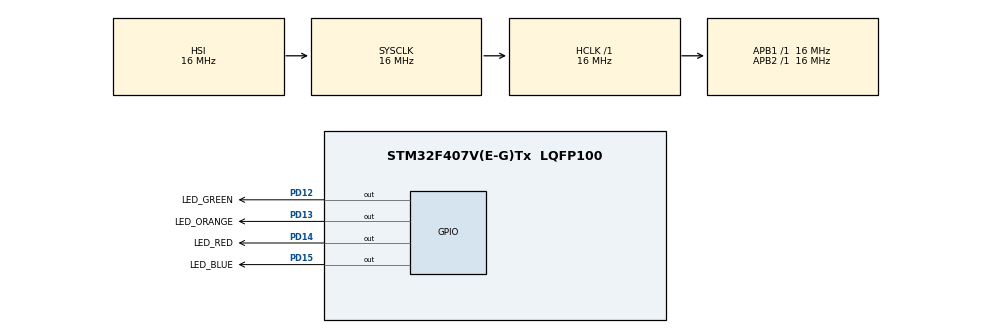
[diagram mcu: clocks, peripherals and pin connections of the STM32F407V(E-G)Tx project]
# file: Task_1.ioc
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Mcu.Family=STM32F4
Mcu.Name=STM32F407V(E-G)Tx
Mcu.Package=LQFP100
NVIC.PriorityGroup=NVIC_PRIORITYGROUP_4
PD12.GPIO_Label=LED_GREEN
PD12.Signal=GPIO_Output
PD13.GPIO_Label=LED_ORANGE
PD13.Signal=GPIO_Output
PD14.GPIO_Label=LED_RED
PD14.Signal=GPIO_Output
PD15.GPIO_Label=LED_BLUE
PD15.Signal=GPIO_Output
ProjectManager.HeapSize=0x200
ProjectManager.StackSize=0x400
ProjectManager.TargetToolchain=STM32CubeIDE
RCC.AHBFreq_Value=16000000
RCC.APB1Freq_Value=16000000
RCC.APB2Freq_Value=16000000
RCC.CortexFreq_Value=16000000
RCC.HSE_VALUE=25000000
RCC.HSI_VALUE=16000000
RCC.LSE_VALUE=32768
RCC.SYSCLKFreq_VALUE=16000000
RCC.VCOOutputFreq_Value=192000000
board=custom

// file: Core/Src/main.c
/* USER CODE BEGIN Header */
/**
  ******************************************************************************
  * @file           : main.c
  * @brief          : Main program body
  ******************************************************************************
  * @attention
  *
  * <h2><center>&copy; Copyright (c) 2021 STMicroelectronics.
  * All rights reserved.</center></h2>
  *
  * This software component is licensed by ST under BSD 3-Clause license,
  * the "License"; You may not use this file except in compliance with the
  * License. You may obtain a copy of the License at:
  *                        opensource.org/licenses/BSD-3-Clause
  *
  ******************************************************************************
  */
/* USER CODE END Header */
#include "main.h"

void SystemClock_Config(void);
static void MX_GPIO_Init(void);

int main(void)
{

  /* MCU Configuration--------------------------------------------------------*/

  /* Reset of all peripherals, Initializes the Flash interface and the Systick. */
  HAL_Init();

  /* Configure the system clock */
  SystemClock_Config();

  /* Initialize all configured peripherals */
  MX_GPIO_Init();
  /* USER CODE BEGIN 2 */

  uint32_t led_Pin[4] = {LED_GREEN_Pin, LED_ORANGE_Pin, LED_RED_Pin, LED_BLUE_Pin};

  HAL_Delay(4000);
  HAL_GPIO_WritePin(GPIOD, LED_GREEN_Pin|LED_RED_Pin, GPIO_PIN_SET);
  HAL_Delay(500);
  HAL_GPIO_WritePin(GPIOD, LED_GREEN_Pin|LED_RED_Pin, GPIO_PIN_RESET);
  HAL_Delay(500);
  HAL_GPIO_WritePin(GPIOD, LED_ORANGE_Pin|LED_BLUE_Pin, GPIO_PIN_SET);
  HAL_Delay(500);
  HAL_GPIO_WritePin(GPIOD, LED_ORANGE_Pin|LED_BLUE_Pin, GPIO_PIN_RESET);
  HAL_Delay(500);
  HAL_GPIO_WritePin(GPIOD, LED_GREEN_Pin|LED_ORANGE_Pin|LED_RED_Pin|LED_BLUE_Pin, GPIO_PIN_SET);
  HAL_Delay(500);
  HAL_GPIO_WritePin(GPIOD, LED_GREEN_Pin|LED_ORANGE_Pin|LED_RED_Pin|LED_BLUE_Pin, GPIO_PIN_RESET);
  HAL_Delay(500);

  /* USER CODE END 2 */

  /* Infinite loop */
  /* USER CODE BEGIN WHILE */
  while (1)
  {
	      // progressive led blinking
	  	  for( uint32_t j = 250; j > 0; j -= 25)
	  	  {
	  		  for( uint32_t k = 0; k < 4; k++){
	  	  HAL_GPIO_WritePin(GPIOD, led_Pin[k], GPIO_PIN_SET);
	  	  HAL_Delay(j);
	  	  HAL_GPIO_WritePin(GPIOD, led_Pin[k], GPIO_PIN_RESET);
	  	  HAL_Delay(j);
	  		  }
	  	  }

    /* USER CODE END WHILE */

  }
}

void SystemClock_Config(void)
{
  RCC_OscInitTypeDef RCC_OscInitStruct = {0};
  RCC_ClkInitTypeDef RCC_ClkInitStruct = {0};

  /** Configure the main internal regulator output voltage
  */
  __HAL_RCC_PWR_CLK_ENABLE();
  __HAL_PWR_VOLTAGESCALING_CONFIG(PWR_REGULATOR_VOLTAGE_SCALE1);
  /** Initializes the RCC Oscillators according to the specified parameters
  * in the RCC_OscInitTypeDef structure.
  */
  RCC_OscInitStruct.OscillatorType = RCC_OSCILLATORTYPE_HSI;
  RCC_OscInitStruct.HSIState = RCC_HSI_ON;
  RCC_OscInitStruct.HSICalibrationValue = RCC_HSICALIBRATION_DEFAULT;
  RCC_OscInitStruct.PLL.PLLState = RCC_PLL_NONE;
  if (HAL_RCC_OscConfig(&RCC_OscInitStruct) != HAL_OK)
  {
    Error_Handler();
  }
  /** Initializes the CPU, AHB and APB buses clocks
  */
  RCC_ClkInitStruct.ClockType = RCC_CLOCKTYPE_HCLK|RCC_CLOCKTYPE_SYSCLK
                              |RCC_CLOCKTYPE_PCLK1|RCC_CLOCKTYPE_PCLK2;
  RCC_ClkInitStruct.SYSCLKSource = RCC_SYSCLKSOURCE_HSI;
  RCC_ClkInitStruct.AHBCLKDivider = RCC_SYSCLK_DIV1;
  RCC_ClkInitStruct.APB1CLKDivider = RCC_HCLK_DIV1;
  RCC_ClkInitStruct.APB2CLKDivider = RCC_HCLK_DIV1;

  if (HAL_RCC_ClockConfig(&RCC_ClkInitStruct, FLASH_LATENCY_0) != HAL_OK)
  {
    Error_Handler();
  }
}

static void MX_GPIO_Init(void)
{
  GPIO_InitTypeDef GPIO_InitStruct = {0};

  /* GPIO Ports Clock Enable */
  __HAL_RCC_GPIOD_CLK_ENABLE();

  /*Configure GPIO pin Output Level */
  HAL_GPIO_WritePin(GPIOD, LED_GREEN_Pin|LED_ORANGE_Pin|LED_RED_Pin|LED_BLUE_Pin, GPIO_PIN_RESET);

  /*Configure GPIO pins : LED_GREEN_Pin LED_ORANGE_Pin LED_RED_Pin LED_BLUE_Pin */
  GPIO_InitStruct.Pin = LED_GREEN_Pin|LED_ORANGE_Pin|LED_RED_Pin|LED_BLUE_Pin;
  GPIO_InitStruct.Mode = GPIO_MODE_OUTPUT_PP;
  GPIO_InitStruct.Pull = GPIO_NOPULL;
  GPIO_InitStruct.Speed = GPIO_SPEED_FREQ_LOW;
  HAL_GPIO_Init(GPIOD, &GPIO_InitStruct);

}

void Error_Handler(void)
{
  __disable_irq();
  while (1)
  {
  }
}

/************************ (C) COPYRIGHT STMicroelectronics *****END OF FILE****/
